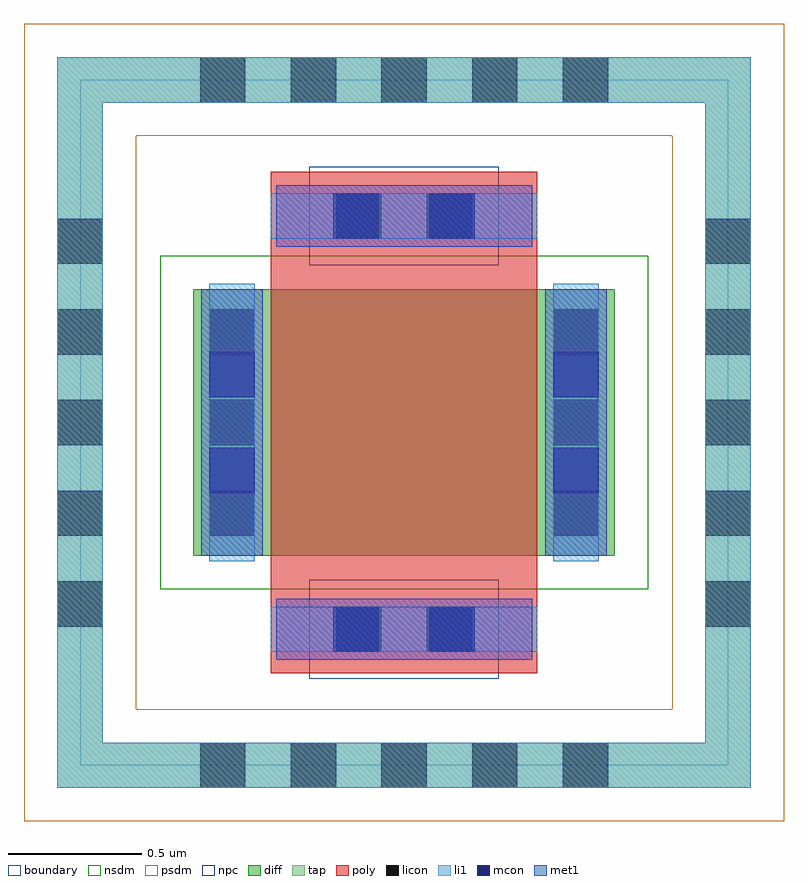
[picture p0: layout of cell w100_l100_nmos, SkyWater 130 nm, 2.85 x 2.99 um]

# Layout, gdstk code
import gdstk
lib = gdstk.Library(unit=1e-6, precision=1e-09)
def R(c, l, rs):  # rectangles x0, y0, x1, y1
    for r in rs: c.add(gdstk.rectangle(r[:2], r[2:], *l))
def A(c, l, x, y, w, h, nx, ny, dx, dy):  # array of equal rectangles
    R(c, l, [(x+i*dx, y+j*dy, x+i*dx+w, y+j*dy+h) for i in range(nx) for j in range(ny)])
diff = (65, 20)
tap = (65, 44)
poly = (66, 20)
licon = (66, 44)
li1 = (67, 20)
mcon = (67, 44)
met1 = (68, 20)
nsdm = (93, 44)
psdm = (94, 20)
npc = (95, 20)
boundary = (235, 4)

sky130_fd_pr__nfet_01v8 = lib.new_cell('sky130_fd_pr__nfet_01v8')

w100_l100_nmos = lib.new_cell('w100_l100_nmos')
R(w100_l100_nmos, diff, [(-0.79,-0.5,0.79,0.5)])
R(w100_l100_nmos, tap, [(-1.3,-1.37,1.3,-1.2), (-1.3,-1.2,-1.13,1.2), (1.13,-1.2,1.3,1.2), (-1.3,1.2,1.3,1.37)])
R(w100_l100_nmos, poly, [(-0.5,-0.94,0.5,0.94)])
A(w100_l100_nmos, licon, -0.765, -1.37, 0.17, 0.17, 5, 2, 0.34, 2.57)
A(w100_l100_nmos, licon, -1.3, -0.765, 0.17, 0.17, 1, 5, 0, 0.34)
A(w100_l100_nmos, licon, 1.13, -0.765, 0.17, 0.17, 1, 5, 0, 0.34)
A(w100_l100_nmos, licon, -0.73, -0.425, 0.17, 0.17, 1, 3, 0, 0.34)
A(w100_l100_nmos, licon, 0.56, -0.425, 0.17, 0.17, 1, 3, 0, 0.34)
R(w100_l100_nmos, licon, [(-0.255,-0.86,-0.085,-0.69), (0.085,-0.86,0.255,-0.69), (-0.255,0.69,-0.085,0.86), (0.085,0.69,0.255,0.86)])
R(w100_l100_nmos, li1, [(-1.3,-1.37,1.3,-1.2), (-1.3,-1.2,-1.13,1.2), (1.13,-1.2,1.3,1.2), (-0.5,-0.86,0.5,-0.69), (-0.73,-0.52,-0.56,0.52), (0.56,-0.52,0.73,0.52), (-0.5,0.69,0.5,0.86), (-1.3,1.2,1.3,1.37)])
R(w100_l100_nmos, mcon, [(-0.265,-0.86,-0.095,-0.69), (0.095,-0.86,0.265,-0.69), (-0.73,-0.265,-0.56,-0.095), (0.56,-0.265,0.73,-0.095), (-0.73,0.095,-0.56,0.265), (0.56,0.095,0.73,0.265), (-0.265,0.69,-0.095,0.86), (0.095,0.69,0.265,0.86)])
R(w100_l100_nmos, met1, [(-0.48,-0.89,0.48,-0.66), (-0.76,-0.5,-0.53,0.5), (0.53,-0.5,0.76,0.5), (-0.48,0.66,0.48,0.89)])
R(w100_l100_nmos, nsdm, [(-0.915,-0.625,0.915,0.625)])
R(w100_l100_nmos, psdm, [(-1.425,-1.495,1.425,-1.075), (-1.425,-1.075,-1.005,1.075), (1.005,-1.075,1.425,1.075), (-1.425,1.075,1.425,1.495)])
R(w100_l100_nmos, npc, [(-0.355,-0.96,0.355,-0.59), (-0.355,0.59,0.355,0.96)])
R(w100_l100_nmos, boundary, [(-1.215,-1.285,1.215,1.285)])
w100_l100_nmos.add(gdstk.Reference(sky130_fd_pr__nfet_01v8, (0,0)))

lib.write_gds('w100_l100_nmos.gds')
